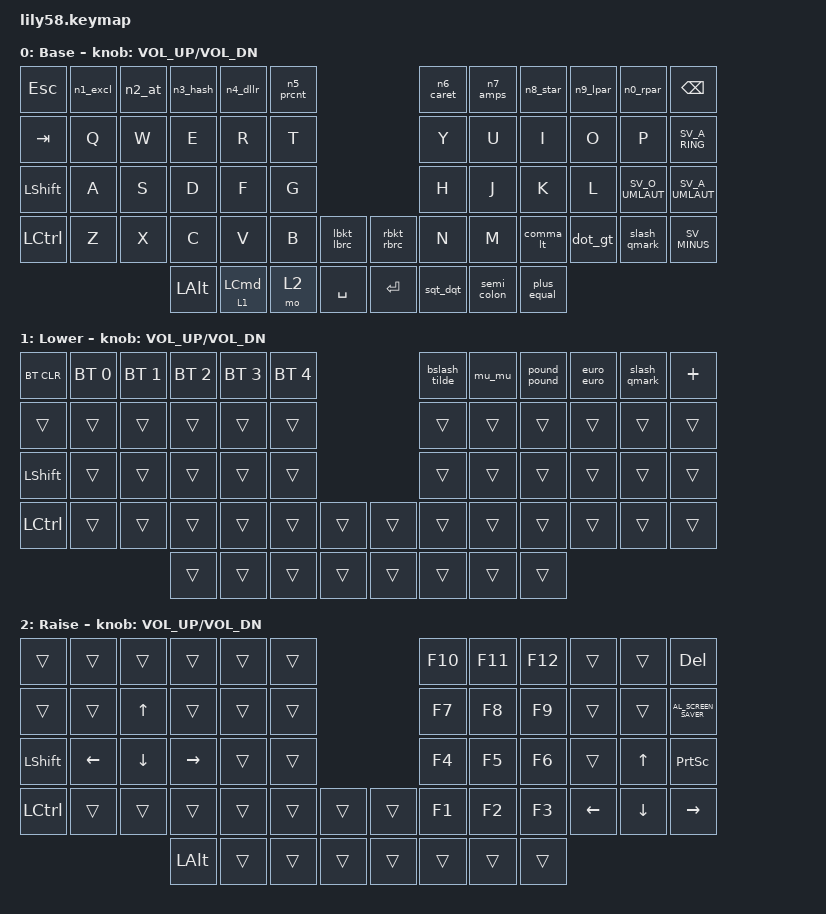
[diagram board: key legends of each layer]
/*
 * Copyright (c) 2020 The ZMK Contributors
 *
 * SPDX-License-Identifier: MIT
 */

#include <behaviors.dtsi>
#include <dt-bindings/zmk/bt.h>
#include <dt-bindings/zmk/keys.h>
#include "keys_sv.h"

/ {
    // ---------- Behaviors ----------

    behaviors {
        // Brackets

        lbkt_lbrc: bracket_brace_left {
            compatible = "zmk,behavior-mod-morph";
            #binding-cells = <0>;
            bindings = <&kp SV_LBKT>, <&kp SV_LBRC>;

            mods = <(MOD_LSFT|MOD_RSFT)>;
        };

        rbkt_rbrc: bracket_brace_right {
            compatible = "zmk,behavior-mod-morph";
            #binding-cells = <0>;
            bindings = <&kp SV_RBKT>, <&kp SV_RBRC>;

            mods = <(MOD_LSFT|MOD_RSFT)>;
        };

        // Comma / Dot / Semicolon / Plus

        comma_lt: comma_less {
            compatible = "zmk,behavior-mod-morph";
            #binding-cells = <0>;
            bindings = <&kp SV_COMMA>, <&kp SV_LT>;

            mods = <(MOD_LSFT|MOD_RSFT)>;
        };

        dot_gt: dot_greater {
            compatible = "zmk,behavior-mod-morph";
            #binding-cells = <0>;
            bindings = <&kp SV_DOT>, <&kp SV_GT>;

            mods = <(MOD_LSFT|MOD_RSFT)>;
        };

        semi_colon: semi_colon {
            compatible = "zmk,behavior-mod-morph";
            #binding-cells = <0>;
            bindings = <&kp SV_SEMI>, <&kp SV_COLON>;

            mods = <(MOD_LSFT|MOD_RSFT)>;
        };

        plus_equal: plus_equal {
            compatible = "zmk,behavior-mod-morph";
            #binding-cells = <0>;
            bindings = <&kp SV_PLUS>, <&kp SV_EQUAL>;

            mods = <(MOD_LSFT|MOD_RSFT)>;
        };

        // Numbers with US-style shifted symbols

        n1_excl: n1_excl {
            compatible = "zmk,behavior-mod-morph";
            #binding-cells = <0>;
            bindings = <&kp SV_N1>, <&kp SV_EXCL>;

            mods = <(MOD_LSFT|MOD_RSFT)>;
        };

        n2_at: n2_at {
            compatible = "zmk,behavior-mod-morph";
            #binding-cells = <0>;
            bindings = <&kp SV_N2>, <&kp SV_AT>;

            mods = <(MOD_LSFT|MOD_RSFT)>;
        };

        n3_hash: n3_hash {
            compatible = "zmk,behavior-mod-morph";
            #binding-cells = <0>;
            bindings = <&kp SV_N3>, <&kp SV_HASH>;

            mods = <(MOD_LSFT|MOD_RSFT)>;
        };

        n4_dllr: n4_dllr {
            compatible = "zmk,behavior-mod-morph";
            #binding-cells = <0>;
            bindings = <&kp SV_N4>, <&kp SV_DLLR>;

            mods = <(MOD_LSFT|MOD_RSFT)>;
        };

        n5_prcnt: n5_prcnt {
            compatible = "zmk,behavior-mod-morph";
            #binding-cells = <0>;
            bindings = <&kp SV_N5>, <&kp SV_PRCNT>;

            mods = <(MOD_LSFT|MOD_RSFT)>;
        };

        n6_caret: n6_caret {
            compatible = "zmk,behavior-mod-morph";
            #binding-cells = <0>;
            bindings = <&kp SV_N6>, <&kp SV_CARET>;

            mods = <(MOD_LSFT|MOD_RSFT)>;
        };

        n7_amps: n7_amps {
            compatible = "zmk,behavior-mod-morph";
            #binding-cells = <0>;
            bindings = <&kp SV_N7>, <&kp SV_AMPS>;

            mods = <(MOD_LSFT|MOD_RSFT)>;
        };

        n8_star: n8_star {
            compatible = "zmk,behavior-mod-morph";
            #binding-cells = <0>;
            bindings = <&kp SV_N8>, <&kp SV_STAR>;

            mods = <(MOD_LSFT|MOD_RSFT)>;
        };

        n9_lpar: n9_lpar {
            compatible = "zmk,behavior-mod-morph";
            #binding-cells = <0>;
            bindings = <&kp SV_N9>, <&kp SV_LPAR>;

            mods = <(MOD_LSFT|MOD_RSFT)>;
        };

        n0_rpar: n0_rpar {
            compatible = "zmk,behavior-mod-morph";
            #binding-cells = <0>;
            bindings = <&kp SV_N0>, <&kp SV_RPAR>;

            mods = <(MOD_LSFT|MOD_RSFT)>;
        };

        // Single / Double quote

        sqt_dqt: sqt_dqt {
            compatible = "zmk,behavior-mod-morph";
            #binding-cells = <0>;
            bindings = <&kp SV_SQT>, <&kp SV_DQT>;

            mods = <(MOD_LSFT|MOD_RSFT)>;
        };

        // Slash / Question

        slash_qmark: slash_qmark {
            compatible = "zmk,behavior-mod-morph";
            #binding-cells = <0>;
            bindings = <&kp SV_FSLH>, <&kp SV_QUESTION>;

            mods = <(MOD_LSFT|MOD_RSFT)>;
        };

        // Backslash / Tilde

        bslash_tilde: bslash_tilde {
            compatible = "zmk,behavior-mod-morph";
            #binding-cells = <0>;
            bindings = <&kp SV_BSLH>, <&kp SV_TILDE>;

            mods = <(MOD_LSFT|MOD_RSFT)>;
        };

        // Pound / £

        pound_pound: pound_pound {
            compatible = "zmk,behavior-mod-morph";
            #binding-cells = <0>;
            bindings = <&kp SV_POUND_SIGN>, <&kp SV_POUND_SIGN>;

            mods = <(MOD_LSFT|MOD_RSFT)>;
        };

        // Euro / €

        euro_euro: euro_euro {
            compatible = "zmk,behavior-mod-morph";
            #binding-cells = <0>;
            bindings = <&kp SV_EURO>, <&kp SV_EURO>;

            mods = <(MOD_LSFT|MOD_RSFT)>;
        };

        // Micro / µ

        mu_mu: mu_mu {
            compatible = "zmk,behavior-mod-morph";
            #binding-cells = <0>;
            bindings = <&kp SV_MU>, <&kp SV_MU>;

            mods = <(MOD_LSFT|MOD_RSFT)>;
        };
    };

    keymap {
        compatible = "zmk,keymap";

        default_layer {
            display-name = "Base";
            bindings = <
&kp ESC           &n1_excl  &n2_at  &n3_hash  &n4_dllr    &n5_prcnt                            &n6_caret  &n7_amps     &n8_star     &n9_lpar  &n0_rpar         &kp BACKSPACE
&kp TAB           &kp Q     &kp W   &kp E     &kp R       &kp T                                &kp Y      &kp U        &kp I        &kp O     &kp P            &kp SV_A_RING
&kp LEFT_SHIFT    &kp A     &kp S   &kp D     &kp F       &kp G                                &kp H      &kp J        &kp K        &kp L     &kp SV_O_UMLAUT  &kp SV_A_UMLAUT
&kp LEFT_CONTROL  &kp Z     &kp X   &kp C     &kp V       &kp B      &lbkt_lbrc    &rbkt_rbrc  &kp N      &kp M        &comma_lt    &dot_gt   &slash_qmark     &kp SV_MINUS
                                    &kp LALT  &lt 1 LCMD  &mo 2      &kp SPACE     &kp ENTER   &sqt_dqt   &semi_colon  &plus_equal
            >;

            sensor-bindings = <&inc_dec_kp C_VOL_UP C_VOL_DN>;
        };

        lower_layer {
            display-name = "Lower";
            bindings = <
&bt BT_CLR        &bt BT_SEL 0  &bt BT_SEL 1  &bt BT_SEL 2  &bt BT_SEL 3  &bt BT_SEL 4                    &bslash_tilde  &mu_mu  &pound_pound  &euro_euro  &slash_qmark  &kp PLUS
&trans            &trans        &trans        &trans        &trans        &trans                          &trans         &trans  &trans        &trans      &trans        &trans
&kp LEFT_SHIFT    &trans        &trans        &trans        &trans        &trans                          &trans         &trans  &trans        &trans      &trans        &trans
&kp LEFT_CONTROL  &trans        &trans        &trans        &trans        &trans        &trans    &trans  &trans         &trans  &trans        &trans      &trans        &trans
                                              &trans        &trans        &trans        &trans    &trans  &trans         &trans  &trans
            >;

            sensor-bindings = <&inc_dec_kp C_VOL_UP C_VOL_DN>;
        };

        raise_layer {
            display-name = "Raise";
            bindings = <
&trans            &trans          &trans          &trans           &trans  &trans                    &kp F10  &kp F11  &kp F12  &trans          &trans          &kp DEL
&trans            &trans          &kp UP_ARROW    &trans           &trans  &trans                    &kp F7   &kp F8   &kp F9   &trans          &trans          &kp C_AL_SCREEN_SAVER
&kp LEFT_SHIFT    &kp LEFT_ARROW  &kp DOWN_ARROW  &kp RIGHT_ARROW  &trans  &trans                    &kp F4   &kp F5   &kp F6   &trans          &kp UP_ARROW    &kp PRINTSCREEN
&kp LEFT_CONTROL  &trans          &trans          &trans           &trans  &trans  &trans    &trans  &kp F1   &kp F2   &kp F3   &kp LEFT_ARROW  &kp DOWN_ARROW  &kp RIGHT_ARROW
                                                  &kp LEFT_ALT     &trans  &trans  &trans    &trans  &trans   &trans   &trans
            >;

            sensor-bindings = <&inc_dec_kp C_VOL_UP C_VOL_DN>;
        };

        extra_1 { status = "reserved"; };

        extra_2 { status = "reserved"; };

        extra_3 { status = "reserved"; };
    };
};
